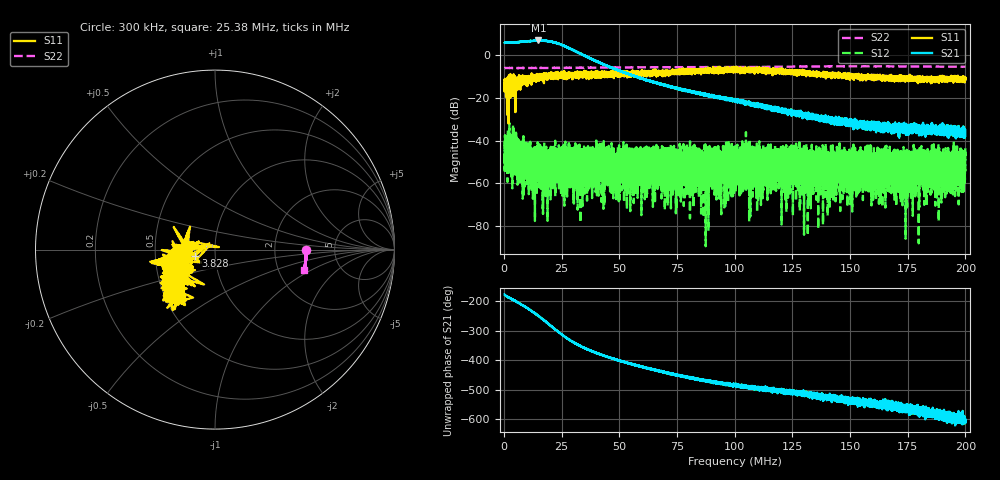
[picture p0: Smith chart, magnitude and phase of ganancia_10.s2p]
# Hz S DB R 50
! CMT, M5065, 19127446, 24.2.4/2
! Date: 11/8/2024 4:53:52 PM
! Data: Format (Calibration Info)
! Freq	S11:dB/Ang(F2)	S21:dB/Ang(F2)	S12:dB/Ang(F2)	S22:dB/Ang(F2)
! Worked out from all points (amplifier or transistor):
!   9000 points, 300 kHz to 200 MHz, reference 50 ohm
!   highest |S21| = 7.0 dB at 14.97 MHz (marker M1)
!   |S21| within 3 dB of that: start of sweep to 26.97 MHz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
!   unconditionally stable (mu >= 1): start of sweep to end of sweep
!   at 33.59 MHz: K = 99.37, MAG = 2.5 dB, |S12| = -50.4 dB
!   at 100.2 MHz: K = 2257.39, MAG = -17.6 dB, |S12| = -58.2 dB
!   at 200 MHz: K = 4926.81, MAG = -35.6 dB, |S12| = -46.2 dB
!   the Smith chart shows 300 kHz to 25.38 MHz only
!   S11 on the Smith chart (normalised r, x): 300 kHz: 0.59, -0.11; 3.828 MHz: 0.80, -0.06; 25.38 MHz: 0.58, -0.33
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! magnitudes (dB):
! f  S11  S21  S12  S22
! 300 kHz  -11.5  5.9  -40.0  -5.9
! 1.343 MHz  -12.6  5.9  -52.8  -5.9
! 3.828 MHz  -18.8  6.1  -42.8  -5.9
! 9.088 MHz  -11.8  6.5  -57.6  -5.9
! 14.97 MHz  -9.0  7.0  -47.4  -5.8
! 25.38 MHz  -9.7  4.8  -65.9  -5.8
! 33.59 MHz  -9.1  0.6  -50.4  -5.8
! 44.64 MHz  -8.8  -4.9  -53.3  -5.7
! 47.81 MHz  -8.3  -6.2  -53.6  -5.6
! 66.87 MHz  -8.5  -13.3  -56.5  -5.5
! 76.13 MHz  -6.4  -15.7  -45.6  -5.5
! 100.2 MHz  -6.0  -20.3  -58.2  -5.4
! 108.7 MHz  -6.5  -23.3  -61.5  -5.4
! 110.7 MHz  -5.4  -23.6  -50.0  -5.4
! 115.3 MHz  -7.5  -24.4  -46.7  -5.3
! 133.4 MHz  -8.8  -28.6  -45.2  -5.1
! 143 MHz  -9.0  -31.2  -53.3  -5.1
! 147.1 MHz  -8.8  -30.3  -49.0  -5.1
! 152.3 MHz  -10.1  -32.7  -49.2  -5.1
! 166.7 MHz  -10.7  -33.4  -46.9  -5.1
! 196.5 MHz  -11.6  -36.4  -52.4  -5.3
! 200 MHz  -10.6  -37.5  -46.2  -5.3
